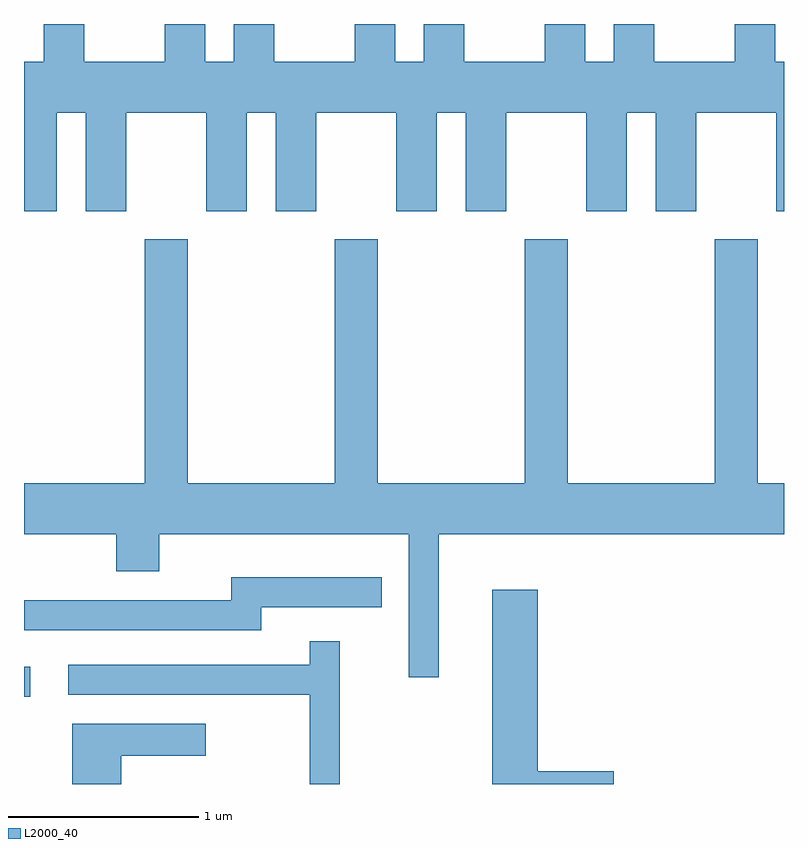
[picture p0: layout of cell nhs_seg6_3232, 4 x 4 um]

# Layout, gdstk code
import gdstk
lib = gdstk.Library(unit=1e-6, precision=1e-09)
def R(c, l, rs):  # rectangles x0, y0, x1, y1
    for r in rs: c.add(gdstk.rectangle(r[:2], r[2:], *l))
def P(c, l, *ps):  # polygons
    for p in ps: c.add(gdstk.Polygon(p, *l))
L2000_40 = (2000, 40)

nhs_seg6_3232 = lib.new_cell('nhs_seg6_3232')
R(nhs_seg6_3232, L2000_40, [(281.611,1664.621,281.643,1664.779)])
P(nhs_seg6_3232, L2000_40, [(281.784,1667.696),(281.936,1667.696),(281.936,1667.176),(282.149,1667.176),(282.149,1667.696),(282.571,1667.696),(282.571,1667.176),(282.784,1667.176),(282.784,1667.696),(282.936,1667.696),(282.936,1667.176),(283.149,1667.176),(283.149,1667.696),(283.571,1667.696),(283.571,1667.176),(283.784,1667.176),(283.784,1667.696),(283.936,1667.696),(283.936,1667.176),(284.149,1667.176),(284.149,1667.696),(284.571,1667.696),(284.571,1667.176),(284.784,1667.176),(284.784,1667.696),(284.936,1667.696),(284.936,1667.176),(285.149,1667.176),(285.149,1667.696),(285.571,1667.696),(285.571,1667.176),(285.611,1667.176),(285.611,1667.964),(285.564,1667.964),(285.564,1668.162),(285.351,1668.162),(285.351,1667.964),(284.929,1667.964),(284.929,1668.162),(284.716,1668.162),(284.716,1667.964),(284.564,1667.964),(284.564,1668.162),(284.351,1668.162),(284.351,1667.964),(283.929,1667.964),(283.929,1668.162),(283.716,1668.162),(283.716,1667.964),(283.564,1667.964),(283.564,1668.162),(283.351,1668.162),(283.351,1667.964),(282.929,1667.964),(282.929,1668.162),(282.716,1668.162),(282.716,1667.964),(282.564,1667.964),(282.564,1668.162),(282.351,1668.162),(282.351,1667.964),(281.929,1667.964),(281.929,1668.162),(281.716,1668.162),(281.716,1667.964),(281.611,1667.964),(281.611,1667.176),(281.784,1667.176)],
  [(283.794,1665.476),(285.611,1665.476),(285.611,1665.744),(285.474,1665.744),(285.474,1667.029),(285.246,1667.029),(285.246,1665.744),(284.474,1665.744),(284.474,1667.029),(284.246,1667.029),(284.246,1665.744),(283.474,1665.744),(283.474,1667.029),(283.246,1667.029),(283.246,1665.744),(282.474,1665.744),(282.474,1667.029),(282.246,1667.029),(282.246,1665.744),(281.611,1665.744),(281.611,1665.476),(282.096,1665.476),(282.096,1665.281),(282.324,1665.281),(282.324,1665.476),(283.636,1665.476),(283.636,1664.723),(283.794,1664.723)],
  [(282.859,1665.091),(283.493,1665.091),(283.493,1665.249),(282.701,1665.249),(282.701,1665.129),(281.611,1665.129),(281.611,1664.971),(282.859,1664.971)],
  [(284.714,1664.229),(284.314,1664.229),(284.314,1665.184),(284.076,1665.184),(284.076,1664.162),(284.714,1664.162)],
  [(283.274,1664.913),(283.116,1664.913),(283.116,1664.789),(281.843,1664.789),(281.843,1664.631),(283.116,1664.631),(283.116,1664.162),(283.274,1664.162)],
  [(282.124,1664.311),(282.568,1664.311),(282.568,1664.479),(281.866,1664.479),(281.866,1664.162),(282.124,1664.162)])

lib.write_gds('nhs_seg6_3232.gds')
